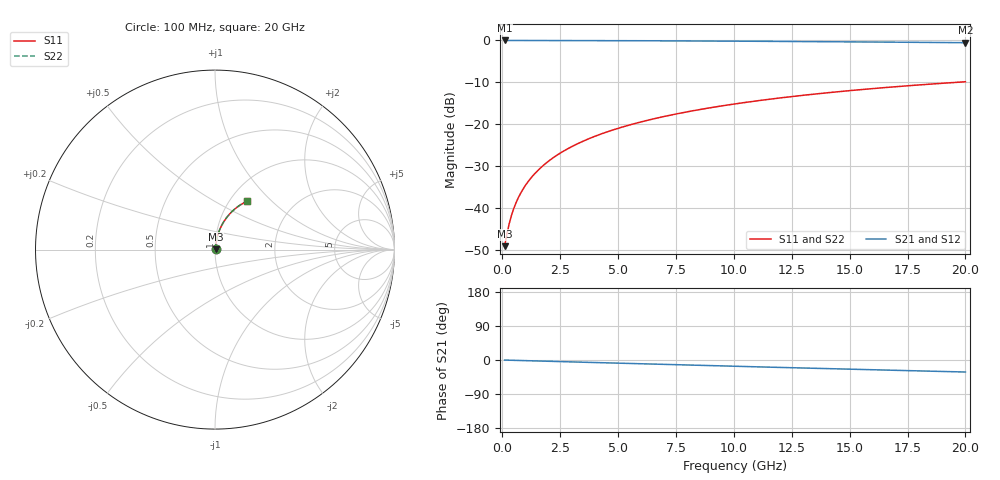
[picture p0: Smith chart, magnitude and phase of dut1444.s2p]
! Touchstone file exported from HFSS 2026.1.0
!  File:  C:/ffzhzh/LocalFiles/Ansys_Project_Files/temp_train_TMRDL_1444_1783167093_18472.aedt
!  Generated:  08:12:45 PM Jul  4, 2026
!  Design:  TMRDL
!  Project:  temp_train_TMRDL_1444_1783167093_18472
! Variables:
!  h_bsmrdl = 2um
!  h_ox = 20um
!  h_rdl = 5um
!  h_sub = 80um
!  h_tmrdl = 2.8um
!  h_tsv = 80um
!  h_via = 3um
!  l_bsmrdl = 300um
!  l_sub = 824.97um
!  l_tmrdl = 424.97um
!  m_sub = 200um
!  pitch = 46.54um
!  r_tsv = 6um
!  s_tmrdl = 10um
!  w_bsmrdl = 18um
!  w_sub = 500um
!  w_tmrdl = 19.7um
!  x_tsv_center1 = 434.82um
!  x_tsv_center2 = 752.82um
!  x_tsv_center3 = 1197.49um
!  x_tsv_center4 = 1515.49um
!  x_tsv_center5 = 1960.16um
!  x_tsv_center6 = 2278.16um
# GHz S MA R 50.000000
! Terminal data exported
! Port[1] = TM_RDL1_1_T1
! Port[2] = TM_RDL1_1_T2
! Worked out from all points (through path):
!   200 points, 100 MHz to 20 GHz, reference 50 ohm
!   highest |S21| = -0.03 dB at 100 MHz (marker M1); lowest = -0.6 dB at 20 GHz (marker M2)
!   group delay of S21, straight-line fit = 4.41 ps
!   lowest |S11| = -49.0 dB at 100 MHz (marker M3), VSWR 1.01, Z = 50.3 + j0.197 ohm
!   |S11| at or under -10 dB: start of sweep to 19.59 GHz
!   |S22| runs from -49.0 to -9.9 dB; largest |S21 - S12| = 3.2e-15
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0.1  0.003558 33.5  0.997 -0.2  0.997 -0.2  0.003558 33.5
! Gamma 0 0 0 0
! Port Impedance 50 0 50 0
0.2  0.004956 51.8  0.997 -0.4  0.997 -0.4  0.004956 51.8
0.3  0.006608 61.0  0.9968 -0.5  0.9968 -0.5  0.006607 61.0
0.4  0.008329 66.3  0.9967 -0.7  0.9967 -0.7  0.008329 66.3
0.5  0.01007 69.7  0.9966 -0.9  0.9966 -0.9  0.01007 69.7
0.6  0.01181 72.1  0.9965 -1.0  0.9965 -1.0  0.01181 72.1
0.8  0.01531 75.2  0.9963 -1.4  0.9963 -1.4  0.01531 75.2
1.1  0.02059 77.8  0.9961 -1.9  0.9961 -1.9  0.02059 77.8
1.3  0.02412 78.9  0.996 -2.2  0.996 -2.2  0.02412 78.9
1.6  0.02945 79.9  0.9958 -2.7  0.9958 -2.7  0.02945 79.9
2.1  0.03836 80.6  0.9954 -3.5  0.9954 -3.5  0.03836 80.6
2.7  0.04907 80.7  0.9948 -4.5  0.9948 -4.5  0.04907 80.7
3.5  0.06331 80.3  0.9938 -5.9  0.9938 -5.9  0.06331 80.3
4.2  0.07572 79.6  0.9927 -7.0  0.9927 -7.0  0.07571 79.6
5  0.0898 78.7  0.9913 -8.3  0.9913 -8.3  0.0898 78.7
5.9  0.1055 77.5  0.9895 -9.8  0.9895 -9.8  0.1055 77.5
6.8  0.121 76.2  0.9874 -11.3  0.9874 -11.3  0.121 76.2
8.3  0.1464 74.0  0.9834 -13.7  0.9834 -13.7  0.1464 74.0
10.1  0.1762 71.3  0.9779 -16.6  0.9779 -16.6  0.1762 71.3
13.4  0.2282 66.3  0.966 -21.8  0.966 -21.8  0.2282 66.3
16.7  0.2768 61.4  0.9525 -26.8  0.9525 -26.8  0.2768 61.5
20  0.3217 56.6  0.9377 -31.7  0.9377 -31.7  0.3217 56.7
